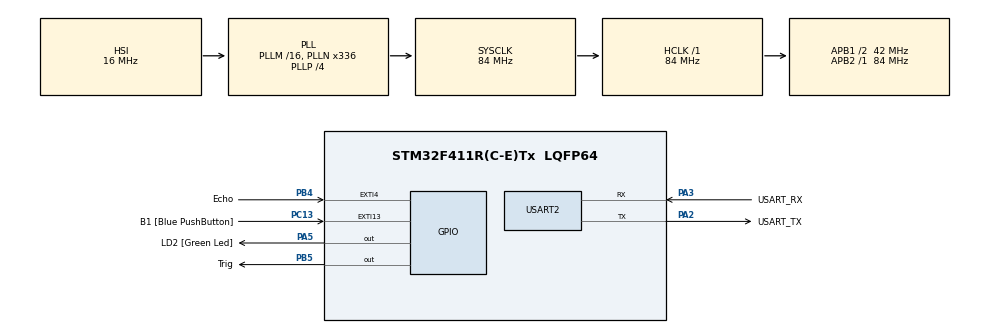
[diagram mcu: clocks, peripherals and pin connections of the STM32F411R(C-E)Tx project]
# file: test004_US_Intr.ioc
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Mcu.Family=STM32F4
Mcu.Name=STM32F411R(C-E)Tx
Mcu.Package=LQFP64
NVIC.EXTI4_IRQn=true\:0\:0\:false\:false\:true\:true\:true\:true
NVIC.PriorityGroup=NVIC_PRIORITYGROUP_0
NVIC.TIM3_IRQn=true\:0\:0\:false\:false\:true\:true\:true\:true
PA13.GPIO_Label=TMS
PA13.Mode=Serial_Wire
PA13.Signal=SYS_JTMS-SWDIO
PA14.GPIO_Label=TCK
PA14.Mode=Serial_Wire
PA14.Signal=SYS_JTCK-SWCLK
PA2.GPIO_Label=USART_TX
PA2.Mode=Asynchronous
PA2.Signal=USART2_TX
PA3.GPIO_Label=USART_RX
PA3.Mode=Asynchronous
PA3.Signal=USART2_RX
PA5.GPIO_Label=LD2 [Green Led]
PA5.Signal=GPIO_Output
PB3.GPIO_Label=SWO
PB3.Signal=SYS_JTDO-SWO
PB4.GPIO_Label=Echo
PB4.GPIO_ModeDefaultEXTI=GPIO_MODE_IT_RISING_FALLING
PB4.Signal=GPXTI4
PB5.GPIO_Label=Trig
PB5.Signal=GPIO_Output
PC13-ANTI_TAMP.GPIO_Label=B1 [Blue PushButton]
PC13-ANTI_TAMP.GPIO_ModeDefaultEXTI=GPIO_MODE_IT_FALLING
PC13-ANTI_TAMP.Signal=GPXTI13
PC14-OSC32_IN.Mode=LSE-External-Oscillator
PC14-OSC32_IN.Signal=RCC_OSC32_IN
PC15-OSC32_OUT.Mode=LSE-External-Oscillator
PC15-OSC32_OUT.Signal=RCC_OSC32_OUT
PH0\ -\ OSC_IN.Mode=HSE-External-Clock-Source
PH0\ -\ OSC_IN.Signal=RCC_OSC_IN
PH1\ -\ OSC_OUT.Mode=HSE-External-Clock-Source
PH1\ -\ OSC_OUT.Signal=RCC_OSC_OUT
ProjectManager.HeapSize=0x200
ProjectManager.StackSize=0x400
ProjectManager.TargetToolchain=STM32CubeIDE
RCC.48MHZClocksFreq_Value=84000000
RCC.AHBFreq_Value=84000000
RCC.APB1CLKDivider=RCC_HCLK_DIV2
RCC.APB1Freq_Value=42000000
RCC.APB1TimFreq_Value=84000000
RCC.APB2Freq_Value=84000000
RCC.APB2TimFreq_Value=84000000
RCC.CortexFreq_Value=84000000
RCC.FLatency-AdvancedSettings=FLASH_LATENCY_2
RCC.HCLKFreq_Value=84000000
RCC.HSE_VALUE=8000000
RCC.HSI_VALUE=16000000
RCC.PLLN=336
RCC.PLLP=RCC_PLLP_DIV4
RCC.SYSCLKFreq_VALUE=84000000
RCC.SYSCLKSource=RCC_SYSCLKSOURCE_PLLCLK
RCC.VCOOutputFreq_Value=336000000
TIM3.Period=10000-1
TIM3.Prescaler=560-1
TIM5.Prescaler=84-1
USART2.VirtualMode=VM_ASYNC
VP_TIM3_VS_ClockSourceINT.Mode=Internal
VP_TIM5_VS_ClockSourceINT.Mode=Internal
board=NUCLEO-F411RE

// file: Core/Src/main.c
/* USER CODE BEGIN Header */
/**
  ******************************************************************************
  * @file           : main.c
  * @brief          : Main program body
  ******************************************************************************
  * @attention
  *
  * Copyright (c) 2024 STMicroelectronics.
  * All rights reserved.
  *
  * This software is licensed under terms that can be found in the LICENSE file
  * in the root directory of this software component.
  * If no LICENSE file comes with this software, it is provided AS-IS.
  *
  ******************************************************************************
  */
/* USER CODE END Header */
#include "main.h"

TIM_HandleTypeDef htim3;
TIM_HandleTypeDef htim5;

UART_HandleTypeDef huart2;

void SystemClock_Config(void);
static void MX_GPIO_Init(void);
static void MX_USART2_UART_Init(void);
static void MX_TIM5_Init(void);
static void MX_TIM3_Init(void);

/* USER CODE BEGIN 0 */
int t1=0, t2=0;
int ts=0;//,t2=0;
double dist = 0.0;
void microDelay(int us)
{
	/*
	int t1 = htim5.Instance->CNT;
	while(1)
	{
		int tmp_us = htim5.Instance->CNT - t1; // 경과?���?????????????????
		if(tmp_us > us) break;
	}
	*/
	//while((htim5.Instance->CNT - t1) > us);
	htim5.Instance->CNT = 0;
	while(htim5.Instance->CNT < us);
}
///*
void Trigger()
{
	//TriggerSignal

		  HAL_GPIO_WritePin(Trig_GPIO_Port, Trig_Pin, 1);
		  microDelay(10);	  //HAL_Delay(0.01);X
		  HAL_GPIO_WritePin(Trig_GPIO_Port, Trig_Pin, 0);
		  microDelay(20);
}
///*

double Distance(void)
{
	Trigger();
	/*
	  while(1)
	  {
		  int e1 = HAL_GPIO_ReadPin(Echo_GPIO_Port,Echo_Pin);
		  if(e1 == 1) break;
	  }
	  //*/
		  // Wait util Echo Rising Edge
		  while(HAL_GPIO_ReadPin(Echo_GPIO_Port,Echo_Pin) != 1);
		  t1 = htim5.Instance->CNT;
		  //int t1 = htim5.Instance->CNT;
		  // Wait until Echo Falling_Edge
		  while(HAL_GPIO_ReadPin(Echo_GPIO_Port,Echo_Pin) != 0);
		  t2 = htim5.Instance->CNT;
		  //int t2 = htim5.Instance->CNT;
		  double dist = (t2-t1)*0.000170; // meter
		  dist *= 100;

		  //microDelay(100000);

		  return dist;
}
//*/

void HAL_GPIO_EXTI_Callback(uint16_t GPIO_Pin)
{
	if(GPIO_Pin == Echo_Pin)
	{
		int tt = htim5.Instance->CNT; // micro count
		if(HAL_GPIO_ReadPin(Echo_GPIO_Port,Echo_Pin))// v = 0 falling edge v = 1 rising edge
		{
			ts = tt;
		}else
		{
			//t2 = tt;
			dist = (tt - ts) * (0.000170)*100;//meter
		}
	}
}
void HAL_TIM_PeriodElapsedCallback(TIM_HandleTypeDef *htim)
{
	if(htim == &htim3)
	{
		Trigger();
	}
}

/* USER CODE END 0 */

int main(void)
{

  /* MCU Configuration--------------------------------------------------------*/

  /* Reset of all peripherals, Initializes the Flash interface and the Systick. */
  HAL_Init();

  /* Configure the system clock */
  SystemClock_Config();

  /* Initialize all configured peripherals */
  MX_GPIO_Init();
  MX_USART2_UART_Init();
  MX_TIM5_Init();
  MX_TIM3_Init();
  /* USER CODE BEGIN 2 */
  ProgramStart("UltraSonic using Interrupt");
  HAL_TIM_Base_Start(&htim5);
  HAL_TIM_Base_Start_IT(&htim3);
  //HAL_TIM_PWM_Start(&htim3, TIM_CHANNEL_2);
  //htim3.Instance->CCR2 = 3; // channel select
  /* USER CODE END 2 */

  /* Infinite loop */
  while (1)
  {

    /* USER CODE BEGIN 3 */
	  //double d = Distance();
	  //double d = dist;
	  //printf("\033[10;10HDistance : %6.2f cm      \033[9;10H \033[?25l\r\n", dist);
	  //printf("\033[?25l");  cursor off
	  //printf("\033[?25h"); cursor on
	  //printf("\033[A"); cursor up
	  //printf("\033[#3"); double size string upper half
	  //printf("\033[#4"); double size string lower half
	  //printf("\033[10;10HDistance : %6.2f cm      \r\n", dist);
	  printf("\033[10;10H\033#3Distance : %.2f cm    ", dist);
	  printf("\033[11;10H\033#4Distance : %.2f cm    \033[9;10H\n", dist);
	  HAL_Delay(100);
  }
  /* USER CODE END 3 */
}

void SystemClock_Config(void)
{
  RCC_OscInitTypeDef RCC_OscInitStruct = {0};
  RCC_ClkInitTypeDef RCC_ClkInitStruct = {0};

  /** Configure the main internal regulator output voltage
  */
  __HAL_RCC_PWR_CLK_ENABLE();
  __HAL_PWR_VOLTAGESCALING_CONFIG(PWR_REGULATOR_VOLTAGE_SCALE1);

  /** Initializes the RCC Oscillators according to the specified parameters
  * in the RCC_OscInitTypeDef structure.
  */
  RCC_OscInitStruct.OscillatorType = RCC_OSCILLATORTYPE_HSI;
  RCC_OscInitStruct.HSIState = RCC_HSI_ON;
  RCC_OscInitStruct.HSICalibrationValue = RCC_HSICALIBRATION_DEFAULT;
  RCC_OscInitStruct.PLL.PLLState = RCC_PLL_ON;
  RCC_OscInitStruct.PLL.PLLSource = RCC_PLLSOURCE_HSI;
  RCC_OscInitStruct.PLL.PLLM = 16;
  RCC_OscInitStruct.PLL.PLLN = 336;
  RCC_OscInitStruct.PLL.PLLP = RCC_PLLP_DIV4;
  RCC_OscInitStruct.PLL.PLLQ = 4;
  if (HAL_RCC_OscConfig(&RCC_OscInitStruct) != HAL_OK)
  {
    Error_Handler();
  }

  /** Initializes the CPU, AHB and APB buses clocks
  */
  RCC_ClkInitStruct.ClockType = RCC_CLOCKTYPE_HCLK|RCC_CLOCKTYPE_SYSCLK
                              |RCC_CLOCKTYPE_PCLK1|RCC_CLOCKTYPE_PCLK2;
  RCC_ClkInitStruct.SYSCLKSource = RCC_SYSCLKSOURCE_PLLCLK;
  RCC_ClkInitStruct.AHBCLKDivider = RCC_SYSCLK_DIV1;
  RCC_ClkInitStruct.APB1CLKDivider = RCC_HCLK_DIV2;
  RCC_ClkInitStruct.APB2CLKDivider = RCC_HCLK_DIV1;

  if (HAL_RCC_ClockConfig(&RCC_ClkInitStruct, FLASH_LATENCY_2) != HAL_OK)
  {
    Error_Handler();
  }
}

static void MX_TIM3_Init(void)
{

  TIM_ClockConfigTypeDef sClockSourceConfig = {0};
  TIM_MasterConfigTypeDef sMasterConfig = {0};

  htim3.Instance = TIM3;
  htim3.Init.Prescaler = 560-1;
  htim3.Init.CounterMode = TIM_COUNTERMODE_UP;
  htim3.Init.Period = 10000-1;
  htim3.Init.ClockDivision = TIM_CLOCKDIVISION_DIV1;
  htim3.Init.AutoReloadPreload = TIM_AUTORELOAD_PRELOAD_DISABLE;
  if (HAL_TIM_Base_Init(&htim3) != HAL_OK)
  {
    Error_Handler();
  }
  sClockSourceConfig.ClockSource = TIM_CLOCKSOURCE_INTERNAL;
  if (HAL_TIM_ConfigClockSource(&htim3, &sClockSourceConfig) != HAL_OK)
  {
    Error_Handler();
  }
  sMasterConfig.MasterOutputTrigger = TIM_TRGO_RESET;
  sMasterConfig.MasterSlaveMode = TIM_MASTERSLAVEMODE_DISABLE;
  if (HAL_TIMEx_MasterConfigSynchronization(&htim3, &sMasterConfig) != HAL_OK)
  {
    Error_Handler();
  }

}

static void MX_TIM5_Init(void)
{

  TIM_ClockConfigTypeDef sClockSourceConfig = {0};
  TIM_MasterConfigTypeDef sMasterConfig = {0};

  htim5.Instance = TIM5;
  htim5.Init.Prescaler = 84-1;
  htim5.Init.CounterMode = TIM_COUNTERMODE_UP;
  htim5.Init.Period = 4294967295;
  htim5.Init.ClockDivision = TIM_CLOCKDIVISION_DIV1;
  htim5.Init.AutoReloadPreload = TIM_AUTORELOAD_PRELOAD_DISABLE;
  if (HAL_TIM_Base_Init(&htim5) != HAL_OK)
  {
    Error_Handler();
  }
  sClockSourceConfig.ClockSource = TIM_CLOCKSOURCE_INTERNAL;
  if (HAL_TIM_ConfigClockSource(&htim5, &sClockSourceConfig) != HAL_OK)
  {
    Error_Handler();
  }
  sMasterConfig.MasterOutputTrigger = TIM_TRGO_RESET;
  sMasterConfig.MasterSlaveMode = TIM_MASTERSLAVEMODE_DISABLE;
  if (HAL_TIMEx_MasterConfigSynchronization(&htim5, &sMasterConfig) != HAL_OK)
  {
    Error_Handler();
  }

}

static void MX_USART2_UART_Init(void)
{

  huart2.Instance = USART2;
  huart2.Init.BaudRate = 115200;
  huart2.Init.WordLength = UART_WORDLENGTH_8B;
  huart2.Init.StopBits = UART_STOPBITS_1;
  huart2.Init.Parity = UART_PARITY_NONE;
  huart2.Init.Mode = UART_MODE_TX_RX;
  huart2.Init.HwFlowCtl = UART_HWCONTROL_NONE;
  huart2.Init.OverSampling = UART_OVERSAMPLING_16;
  if (HAL_UART_Init(&huart2) != HAL_OK)
  {
    Error_Handler();
  }

}

static void MX_GPIO_Init(void)
{
  GPIO_InitTypeDef GPIO_InitStruct = {0};

  /* GPIO Ports Clock Enable */
  __HAL_RCC_GPIOC_CLK_ENABLE();
  __HAL_RCC_GPIOH_CLK_ENABLE();
  __HAL_RCC_GPIOA_CLK_ENABLE();
  __HAL_RCC_GPIOB_CLK_ENABLE();

  /*Configure GPIO pin Output Level */
  HAL_GPIO_WritePin(LD2_GPIO_Port, LD2_Pin, GPIO_PIN_RESET);

  /*Configure GPIO pin Output Level */
  HAL_GPIO_WritePin(Trig_GPIO_Port, Trig_Pin, GPIO_PIN_RESET);

  /*Configure GPIO pin : B1_Pin */
  GPIO_InitStruct.Pin = B1_Pin;
  GPIO_InitStruct.Mode = GPIO_MODE_IT_FALLING;
  GPIO_InitStruct.Pull = GPIO_NOPULL;
  HAL_GPIO_Init(B1_GPIO_Port, &GPIO_InitStruct);

  /*Configure GPIO pin : LD2_Pin */
  GPIO_InitStruct.Pin = LD2_Pin;
  GPIO_InitStruct.Mode = GPIO_MODE_OUTPUT_PP;
  GPIO_InitStruct.Pull = GPIO_NOPULL;
  GPIO_InitStruct.Speed = GPIO_SPEED_FREQ_LOW;
  HAL_GPIO_Init(LD2_GPIO_Port, &GPIO_InitStruct);

  /*Configure GPIO pin : Echo_Pin */
  GPIO_InitStruct.Pin = Echo_Pin;
  GPIO_InitStruct.Mode = GPIO_MODE_IT_RISING_FALLING;
  GPIO_InitStruct.Pull = GPIO_NOPULL;
  HAL_GPIO_Init(Echo_GPIO_Port, &GPIO_InitStruct);

  /*Configure GPIO pin : Trig_Pin */
  GPIO_InitStruct.Pin = Trig_Pin;
  GPIO_InitStruct.Mode = GPIO_MODE_OUTPUT_PP;
  GPIO_InitStruct.Pull = GPIO_NOPULL;
  GPIO_InitStruct.Speed = GPIO_SPEED_FREQ_LOW;
  HAL_GPIO_Init(Trig_GPIO_Port, &GPIO_InitStruct);

  /* EXTI interrupt init*/
  HAL_NVIC_SetPriority(EXTI4_IRQn, 0, 0);
  HAL_NVIC_EnableIRQ(EXTI4_IRQn);

}

void Error_Handler(void)
{
  __disable_irq();
  while (1)
  {
  }
}
